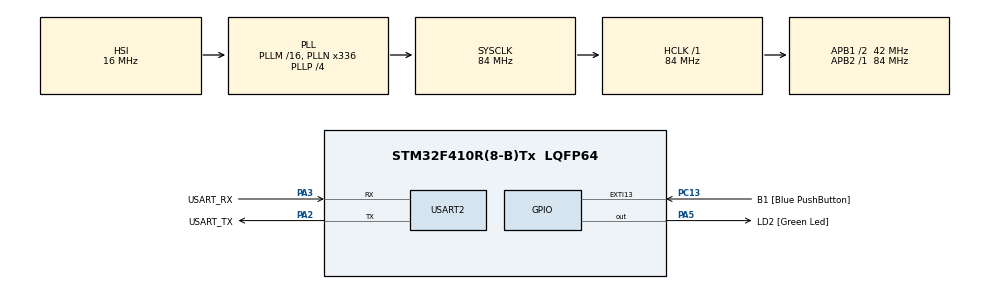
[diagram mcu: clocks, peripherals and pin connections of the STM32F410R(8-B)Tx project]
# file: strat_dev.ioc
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FREERTOS.Tasks01=defaultTask,0,128,StartDefaultTask,Default,NULL,Dynamic,NULL,NULL
FREERTOS.configTOTAL_HEAP_SIZE=20000
Mcu.Family=STM32F4
Mcu.Name=STM32F410R(8-B)Tx
Mcu.Package=LQFP64
NVIC.PriorityGroup=NVIC_PRIORITYGROUP_4
PA13.GPIO_Label=TMS
PA13.Mode=Serial_Wire
PA13.Signal=SYS_JTMS-SWDIO
PA14.GPIO_Label=TCK
PA14.Mode=Serial_Wire
PA14.Signal=SYS_JTCK-SWCLK
PA2.GPIO_Label=USART_TX
PA2.Mode=Asynchronous
PA2.Signal=USART2_TX
PA3.GPIO_Label=USART_RX
PA3.Mode=Asynchronous
PA3.Signal=USART2_RX
PA5.GPIO_Label=LD2 [Green Led]
PA5.Signal=GPIO_Output
PB3.GPIO_Label=SWO
PB3.Signal=SYS_JTDO-SWO
PC13-ANTI_TAMP.GPIO_Label=B1 [Blue PushButton]
PC13-ANTI_TAMP.GPIO_ModeDefaultEXTI=GPIO_MODE_IT_FALLING
PC13-ANTI_TAMP.Signal=GPXTI13
PC14-OSC32_IN.Mode=LSE-External-Oscillator
PC14-OSC32_IN.Signal=RCC_OSC32_IN
PC15-OSC32_OUT.Mode=LSE-External-Oscillator
PC15-OSC32_OUT.Signal=RCC_OSC32_OUT
PH0\ -\ OSC_IN.Mode=HSE-External-Clock-Source
PH0\ -\ OSC_IN.Signal=RCC_OSC_IN
PH1\ -\ OSC_OUT.Mode=HSE-External-Clock-Source
PH1\ -\ OSC_OUT.Signal=RCC_OSC_OUT
ProjectManager.HeapSize=0x200
ProjectManager.StackSize=0x400
ProjectManager.TargetToolchain=STM32CubeIDE
RCC.48MHZClocksFreq_Value=84000000
RCC.AHBFreq_Value=84000000
RCC.APB1CLKDivider=RCC_HCLK_DIV2
RCC.APB1Freq_Value=42000000
RCC.APB1TimFreq_Value=84000000
RCC.APB2Freq_Value=84000000
RCC.APB2TimFreq_Value=84000000
RCC.CortexFreq_Value=84000000
RCC.FLatency-AdvancedSettings=FLASH_LATENCY_2
RCC.HCLKFreq_Value=84000000
RCC.HSE_VALUE=8000000
RCC.HSI_VALUE=16000000
RCC.PLLN=336
RCC.PLLP=RCC_PLLP_DIV4
RCC.SYSCLKFreq_VALUE=84000000
RCC.SYSCLKSource=RCC_SYSCLKSOURCE_PLLCLK
RCC.VCOOutputFreq_Value=336000000
USART2.VirtualMode=VM_ASYNC
VP_FREERTOS_VS_CMSIS_V1.Mode=CMSIS_V1
board=NUCLEO-F410RB

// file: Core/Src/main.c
/* USER CODE BEGIN Header */
/**
  ******************************************************************************
  * @file           : main.c
  * @brief          : Main program body
  ******************************************************************************
  * @attention
  *
  * Copyright (c) 2023 STMicroelectronics.
  * All rights reserved.
  *
  * This software is licensed under terms that can be found in the LICENSE file
  * in the root directory of this software component.
  * If no LICENSE file comes with this software, it is provided AS-IS.
  *
  ******************************************************************************
  */
/* USER CODE END Header */
#include "main.h"
#include "cmsis_os.h"

/* USER CODE BEGIN Includes */
#include <stdio.h>
#include <string.h>
#include "fixpoint_math.h"
#include "odometry.h"
#include "strategy.h"
#include "config.h"
/* USER CODE END Includes */

/* USER CODE BEGIN PD */
#define QUEUE_PRINTF_SIZE 100
#define QUEUE_PRINTF_LENGTH 10
#define DEFAULT_STACK_SIZE 512
#define DEFAULT_TASK_PRIORITY 1
#define DEFAULT_LIDAR_SPEED 85
#define TRUNC_FIXP 1000000000000

#define WHEEL_DIAMETER (43UL<<24) 	//43mm diameter, Q8.24
#define WHEEL_DIST (153UL<<16) 		//153mm distance between wheels, Q16.16
#define ENC_TICKSPERREV 400<<16	//618.18 encoder ticks per revolution, Q16.16
#define ODOMETRY_FREQ 50UL 			//50Hz odometry refresh frequency
/* USER CODE END PD */

UART_HandleTypeDef huart2;

osThreadId defaultTaskHandle;
/* USER CODE BEGIN PV */
QueueHandle_t q_printf = NULL;

TaskHandle_t h_task_strategy = NULL;

SemaphoreHandle_t lidar_RX_semaphore;
SemaphoreHandle_t stm_RX_semaphore;
SemaphoreHandle_t BTN_STATUS_semaphore;
SemaphoreHandle_t BTN_START_semaphore;

BaseType_t ret;

uint8_t BT_RX;
uint8_t rx_pc;
uint8_t string_display[720];
hOdometry_t hOdometry;
int32_t mot_speed = 0;
int16_t cnt = 0;
int32_t angle = 0;
uint8_t odom_overflow = 0;
strat_mode_t strat_mode = DEFAULT_STRAT_MODE;
/* USER CODE END PV */

void SystemClock_Config(void);
static void MX_GPIO_Init(void);
static void MX_USART2_UART_Init(void);
void StartDefaultTask(void const * argument);

/* USER CODE BEGIN 0 */
int __io_putchar(int ch)
{
	HAL_UART_Transmit(&huart2, (uint8_t *)&ch, 1, HAL_MAX_DELAY);
	//HAL_UART_Transmit(&huart3, (uint8_t *)&ch, 1, HAL_MAX_DELAY);
	return ch;
}

void printfTask(void * unused)
{
	uint8_t msg[QUEUE_PRINTF_SIZE];
	BaseType_t ret;
	for(;;){
		ret = xQueueReceive(q_printf, (void *)msg, portMAX_DELAY);
		uint16_t msg_len = strlen(msg);
		if(ret == pdTRUE){
			//printf(msg);
			HAL_UART_Transmit_IT(&huart2, msg, msg_len);
		}
	}
}

void task_Strategy(void * unused){

	for(;;){
		hOdometry.x = 14035<<8;
		hOdometry.y = 13742<<8;
		strategy(&strat_mode, &hOdometry);
		hOdometry.x = 1100<<8;
		hOdometry.y = 0<<8;
		strategy(&strat_mode, &hOdometry);
		hOdometry.x = 1050<<8;
		hOdometry.y = 0<<8;
		strategy(&strat_mode, &hOdometry);
		hOdometry.x = 1100<<8;
		hOdometry.y = 600<<8;
		strategy(&strat_mode, &hOdometry);
		hOdometry.x = 450<<8;
		hOdometry.y = 200<<8;
		strategy(&strat_mode, &hOdometry);
		hOdometry.x = -100<<8;
		hOdometry.y = 30<<8;
		strategy(&strat_mode, &hOdometry);
		hOdometry.x = 0<<8;
		hOdometry.y = 600<<8;
		strat_mode = strat_mode & 0xF0FF | TURN_CLOCK;
		hOdometry.x = 1100<<8;
		hOdometry.y = -600<<8;
		strategy(&strat_mode, &hOdometry);
		hOdometry.x = -1100<<8;
		hOdometry.y = -600<<8;
		strategy(&strat_mode, &hOdometry);
		hOdometry.x = -1100<<8;
		hOdometry.y = 600<<8;
		strategy(&strat_mode, &hOdometry);
		strat_mode = strat_mode & 0xFFF0 | FALL_FORWARD;
		strategy(&strat_mode, &hOdometry);
		strat_mode = strat_mode & 0xFF0F | COLLIDE;
		strategy(&strat_mode, &hOdometry);
		printf("Strat executed\r\n");
		strat_mode = DEFAULT_STRAT_MODE;
		//Fonctionne à 100Hz
		vTaskDelay(10000);
	}
}
/* USER CODE END 0 */

int main(void)
{

  /* MCU Configuration--------------------------------------------------------*/

  /* Reset of all peripherals, Initializes the Flash interface and the Systick. */
  HAL_Init();

  /* Configure the system clock */
  SystemClock_Config();

  /* Initialize all configured peripherals */
  MX_GPIO_Init();
  MX_USART2_UART_Init();
  /* USER CODE BEGIN 2 */
    //lidar_RX_semaphore = xSemaphoreCreateBinary();
  	//stm_RX_semaphore = xSemaphoreCreateBinary();
  	//BTN_STATUS_semaphore = xSemaphoreCreateBinary();
  	//BTN_START_semaphore = xSemaphoreCreateBinary();
  	q_printf = xQueueCreate(QUEUE_PRINTF_LENGTH, QUEUE_PRINTF_SIZE);

  					  printf("STM32 on\r\n");
  	//odometry_init(&hOdometry, &Rmot, &Lmot, WHEEL_DIAMETER, ENC_TICKSPERREV, WHEEL_DIST, ODOMETRY_FREQ);

	hOdometry.dr = 0;
	hOdometry.angle = 0;
	hOdometry.x = 0;
	hOdometry.y = 0;

  	init_champ_vect();

  #ifndef DEV_MODE
  	ret = xTaskCreate(task_Strategy, "task_lidar", DEFAULT_STACK_SIZE, NULL, DEFAULT_TASK_PRIORITY+1, &h_task_strategy);
  	if(ret != pdPASS)
  	{
  		printf("Could not create task lidar \r\n");
  		Error_Handler();
  	}

  	/*ret = xTaskCreate(printfTask, "printf_task", DEFAULT_STACK_SIZE, NULL, DEFAULT_TASK_PRIORITY +11, &h_printf);
  	if(ret != pdPASS)
  	{
  		printf("Could not create printf task\r\n");
  		Error_Handler();
  	}*/

  #endif

  	printf("Function init succed\r\n");

  	vTaskStartScheduler();
  /* USER CODE END 2 */

  /* Create the thread(s) */
  /* definition and creation of defaultTask */
  osThreadDef(defaultTask, StartDefaultTask, osPriorityNormal, 0, 128);
  defaultTaskHandle = osThreadCreate(osThread(defaultTask), NULL);

  /* Start scheduler */
  osKernelStart();

  /* We should never get here as control is now taken by the scheduler */
  /* Infinite loop */
  while (1)
  {

  }
}

void SystemClock_Config(void)
{
  RCC_OscInitTypeDef RCC_OscInitStruct = {0};
  RCC_ClkInitTypeDef RCC_ClkInitStruct = {0};

  /** Configure the main internal regulator output voltage
  */
  __HAL_RCC_PWR_CLK_ENABLE();
  __HAL_PWR_VOLTAGESCALING_CONFIG(PWR_REGULATOR_VOLTAGE_SCALE1);

  /** Initializes the RCC Oscillators according to the specified parameters
  * in the RCC_OscInitTypeDef structure.
  */
  RCC_OscInitStruct.OscillatorType = RCC_OSCILLATORTYPE_HSI;
  RCC_OscInitStruct.HSIState = RCC_HSI_ON;
  RCC_OscInitStruct.HSICalibrationValue = RCC_HSICALIBRATION_DEFAULT;
  RCC_OscInitStruct.PLL.PLLState = RCC_PLL_ON;
  RCC_OscInitStruct.PLL.PLLSource = RCC_PLLSOURCE_HSI;
  RCC_OscInitStruct.PLL.PLLM = 16;
  RCC_OscInitStruct.PLL.PLLN = 336;
  RCC_OscInitStruct.PLL.PLLP = RCC_PLLP_DIV4;
  RCC_OscInitStruct.PLL.PLLQ = 4;
  RCC_OscInitStruct.PLL.PLLR = 2;
  if (HAL_RCC_OscConfig(&RCC_OscInitStruct) != HAL_OK)
  {
    Error_Handler();
  }

  /** Initializes the CPU, AHB and APB buses clocks
  */
  RCC_ClkInitStruct.ClockType = RCC_CLOCKTYPE_HCLK|RCC_CLOCKTYPE_SYSCLK
                              |RCC_CLOCKTYPE_PCLK1|RCC_CLOCKTYPE_PCLK2;
  RCC_ClkInitStruct.SYSCLKSource = RCC_SYSCLKSOURCE_PLLCLK;
  RCC_ClkInitStruct.AHBCLKDivider = RCC_SYSCLK_DIV1;
  RCC_ClkInitStruct.APB1CLKDivider = RCC_HCLK_DIV2;
  RCC_ClkInitStruct.APB2CLKDivider = RCC_HCLK_DIV1;

  if (HAL_RCC_ClockConfig(&RCC_ClkInitStruct, FLASH_LATENCY_2) != HAL_OK)
  {
    Error_Handler();
  }
}

static void MX_USART2_UART_Init(void)
{

  huart2.Instance = USART2;
  huart2.Init.BaudRate = 115200;
  huart2.Init.WordLength = UART_WORDLENGTH_8B;
  huart2.Init.StopBits = UART_STOPBITS_1;
  huart2.Init.Parity = UART_PARITY_NONE;
  huart2.Init.Mode = UART_MODE_TX_RX;
  huart2.Init.HwFlowCtl = UART_HWCONTROL_NONE;
  huart2.Init.OverSampling = UART_OVERSAMPLING_16;
  if (HAL_UART_Init(&huart2) != HAL_OK)
  {
    Error_Handler();
  }

}

static void MX_GPIO_Init(void)
{
  GPIO_InitTypeDef GPIO_InitStruct = {0};

  /* GPIO Ports Clock Enable */
  __HAL_RCC_GPIOC_CLK_ENABLE();
  __HAL_RCC_GPIOH_CLK_ENABLE();
  __HAL_RCC_GPIOA_CLK_ENABLE();
  __HAL_RCC_GPIOB_CLK_ENABLE();

  /*Configure GPIO pin Output Level */
  HAL_GPIO_WritePin(LD2_GPIO_Port, LD2_Pin, GPIO_PIN_RESET);

  /*Configure GPIO pin : B1_Pin */
  GPIO_InitStruct.Pin = B1_Pin;
  GPIO_InitStruct.Mode = GPIO_MODE_IT_FALLING;
  GPIO_InitStruct.Pull = GPIO_NOPULL;
  HAL_GPIO_Init(B1_GPIO_Port, &GPIO_InitStruct);

  /*Configure GPIO pin : LD2_Pin */
  GPIO_InitStruct.Pin = LD2_Pin;
  GPIO_InitStruct.Mode = GPIO_MODE_OUTPUT_PP;
  GPIO_InitStruct.Pull = GPIO_NOPULL;
  GPIO_InitStruct.Speed = GPIO_SPEED_FREQ_LOW;
  HAL_GPIO_Init(LD2_GPIO_Port, &GPIO_InitStruct);

}

void StartDefaultTask(void const * argument)
{
  for(;;)
  {
    osDelay(1);
  }
}

void Error_Handler(void)
{
  /* USER CODE BEGIN Error_Handler_Debug */
  /* User can add his own implementation to report the HAL error return state */
  __disable_irq();
  while (1)
  {
	  HAL_GPIO_TogglePin(LD2_GPIO_Port, LD2_Pin);
	  HAL_Delay(1000);
  }
  /* USER CODE END Error_Handler_Debug */
}
